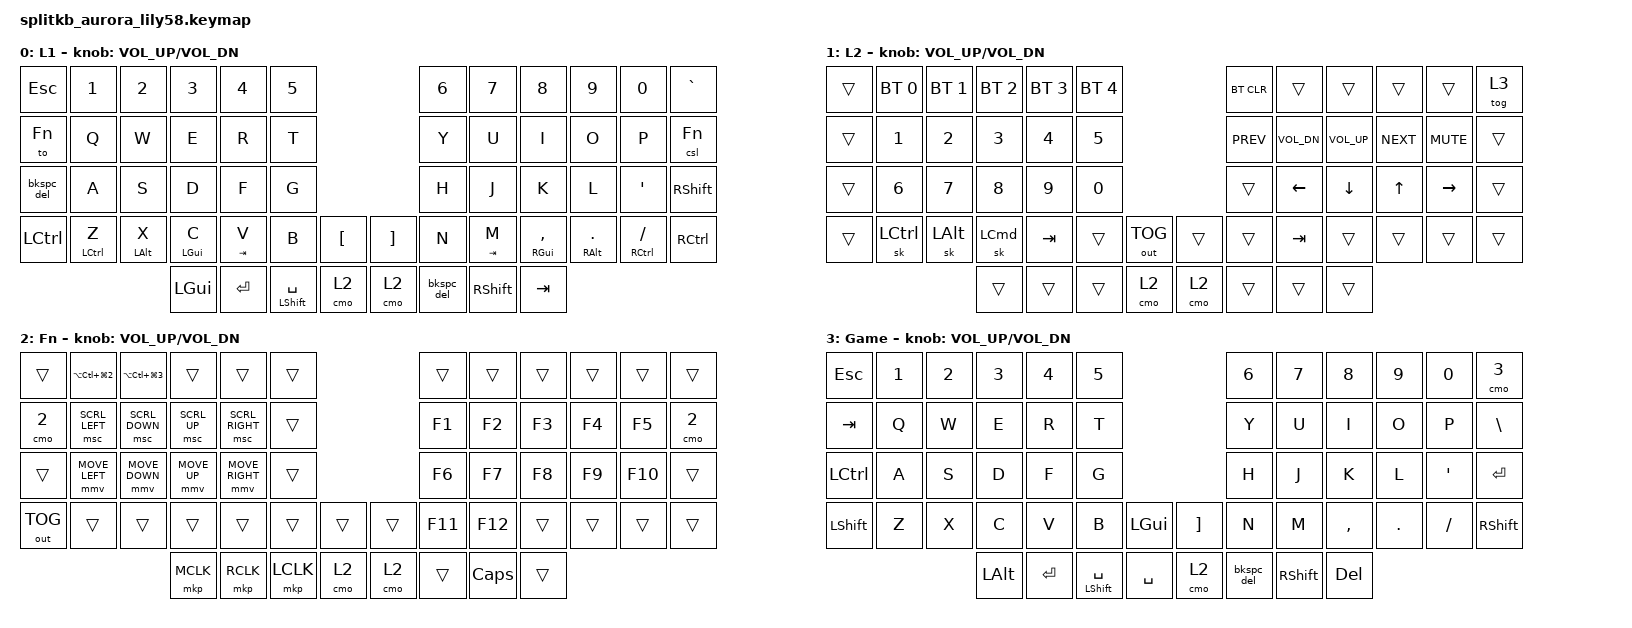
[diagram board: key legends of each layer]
/*
 * Copyright (c) 2022 The ZMK Contributors
 * ok
 * SPDX-License-Identifier: MIT
 */

// ZMK Core Includes
#include <behaviors.dtsi>
#include <dt-bindings/zmk/keys.h>
#include <dt-bindings/zmk/bt.h>
#include <dt-bindings/zmk/outputs.h>

// Layers
#define L1 0
#define L2 1
#define Fn 2
#define Game 3

// Meh key
#define MEH LS(LC(LALT))

// Behaviors Constants
#define TAPPING_TERM_MS 800
#define QUICK_TAP_MS 175
#define GLOBAL_QUICK_TAP_MS 150

// Combos Constants
#define COMBO_TERM_DEFAULT 30
#define COMBO_QUICK_TAP_MS 100

#include "behaviors.dtsi"
#include "macros.dtsi"
#include "combos.dtsi"

#define ZMK_MOUSE_DEFAULT_MOVE_VAL 1500  // 600
#define ZMK_MOUSE_DEFAULT_SCRL_VAL 20    // 10

#define DEF 0;
#define UPE 1;
#define MSC 2;
#define ZMK_MOUSE_DEFAULT_SCRL_VAL 5

#include <dt-bindings/zmk/mouse.h>
#include <behaviors/mouse_keys.dtsi>
#include <behaviors/mouse_move.dtsi>


&sensors { triggers-per-rotation = <12>; };
&msc { acceleration-exponent = <1>; };

/ {
    keymap {
        compatible = "zmk,keymap";
        layer_1 {
            label = "L1";
            bindings = <
        // ╭───────────────┬───────────────┬───────────────┬───────────────┬───────────────┬───────────────╮                                  ╭───────────────┬───────────────┬───────────────┬───────────────┬───────────────┬───────────────╮
        //  0               1               2               3               4               5                                                   6               7               8               9               10              11
            &kp ESC         &kp N1          &kp N2          &kp N3          &kp N4          &kp N5                                              &kp N6          &kp N7          &kp N8          &kp N9          &kp N0          &kp GRAVE
        // ├───────────────├───────────────┼───────────────┼───────────────┼───────────────┼───────────────┤                                  ├───────────────├───────────────┼───────────────┼───────────────┼───────────────┼───────────────┤
        //  12              13              14              15              16              17                                                  18              19              20              21              22              23
            &to Fn          &kp Q           &kp W           &kp E           &kp R           &kp T                                               &kp Y           &kp U           &kp I           &kp O           &kp P           &csl Fn 
        // ├───────────────├───────────────┼───────────────┼───────────────┼───────────────┼───────────────┤                                  ├───────────────├───────────────┼───────────────┼───────────────┼───────────────┼───────────────┤
        //  24              25              26              27              28              29                                                  30              31              32              33              34              35
            &bkspc_del      &kp A           &kp S           &kp D           &kp F           &kp G                                               &kp H           &kp J           &kp K           &kp L           &kp SQT         &kp RSHFT
        // ├───────────────├───────────────┼───────────────┼───────────────┼───────────────┼───────────────┤───────────────┤   ├──────────────├───────────────├───────────────┼───────────────┼───────────────┼───────────────┼───────────────┤
        //  36              37              38              39              40              41              42                  43              44              45              46              47              48              49
            &kp LCTRL       &mt LCTRL Z     &mt LALT X      &mt LGUI C      &mt TAB V       &kp B           &kp LBKT            &kp RBKT        &kp N           &mt TAB M       &mt RGUI COMMA  &mt RALT DOT    &mt RCTRL SLASH &kp RCTRL
        // ╰───────────────┴───────────────┴───────────────┼───────────────┼───────────────┼───────────────┤───────────────┤   ├──────────────├───────────────├───────────────┼───────────────┼───────────────┴───────────────┴───────────────╯
        //                                                  50              51              52              53                   54             55              56              57
                                                            &kp LGUI        &kp ENTER       &mt LSHIFT SPACE &cmo L2             &cmo L2        &bkspc_del     &kp RSHFT        &kp TAB
        //                                                 ╰───────────────┴───────────────┴───────────────┴───────────────╯   ╰──────────────┴───────────────┴───────────────┴───────────────╯77
            >;

            sensor-bindings = <&inc_dec_kp C_VOL_UP C_VOL_DN>;
        };
        layer_2 {
            label = "L2";
            bindings = <
        // ╭───────────────┬───────────────┬───────────────┬───────────────┬───────────────┬───────────────╮                                  ╭───────────────┬───────────────┬───────────────┬───────────────┬───────────────┬───────────────╮
        //  0               1               2               3               4               5                                                   6               7               8               9               10              11
            &trans          &bt BT_SEL 0    &bt BT_SEL 1    &bt BT_SEL 2    &bt BT_SEL 3    &bt BT_SEL 4                                        &bt BT_CLR      &trans          &trans          &trans          &trans          &tog 3
        // ├───────────────├───────────────┼───────────────┼───────────────┼───────────────┼───────────────┤                                  ├───────────────├───────────────┼───────────────┼───────────────┼───────────────┼───────────────┤
        //  12              13              14              15              16              17                                                  18              19              20              21              22              23
            &trans          &kp N1          &kp N2          &kp N3          &kp N4          &kp N5                                              &kp C_PREV      &kp C_VOL_DN    &kp C_VOL_UP    &kp C_NEXT      &kp C_MUTE      &trans
        // ├───────────────├───────────────┼───────────────┼───────────────┼───────────────┼───────────────┤                                  ├───────────────├───────────────┼───────────────┼───────────────┼───────────────┼───────────────┤
        //  24              25              26              27              28              29                                                  30              31              32              33              34              35
            &trans          &kp N6          &kp N7          &kp N8          &kp N9          &kp N0                                              &trans          &kp LEFT        &kp DOWN        &kp UP          &kp RIGHT       &trans
        // ├───────────────├───────────────┼───────────────┼───────────────┼───────────────┼───────────────┤───────────────┤   ├──────────────├───────────────├───────────────┼───────────────┼───────────────┼───────────────┼───────────────┤
        //  36              37              38              39              40              41              42                  43              44              45              46              47              48              49
            &trans          &sk LCTRL       &sk LALT        &sk LCMD        &kp TAB         &trans          &out OUT_TOG        &trans          &trans          &kp TAB         &trans          &trans          &trans          &trans
        // ╰───────────────┴───────────────┴───────────────┼───────────────┼───────────────┼───────────────┤───────────────┤   ├──────────────├───────────────├───────────────┼───────────────┼───────────────┴───────────────┴───────────────╯
        //                                                  50              51              52              53                   54             55              56              57
                                                            &trans          &trans          &trans          &cmo L2              &cmo L2        &trans          &trans          &trans
        //                                                 ╰───────────────┴───────────────┴───────────────┴───────────────╯   ╰──────────────┴───────────────┴───────────────┴───────────────╯
            >;

            sensor-bindings = <&inc_dec_kp C_VOL_UP C_VOL_DN>;
        };

        layer_3 {
            label = "Fn";
            bindings = <
        // ╭───────────────┬───────────────┬───────────────┬───────────────┬───────────────┬───────────────╮                                  ╭───────────────┬───────────────┬───────────────┬───────────────┬───────────────┬───────────────╮
        //  0               1               2               3               4               5                                                   6               7               8               9               10              11
            &trans &kp LA(LC(LG(NUMBER_2))) &kp LA(LC(LG(NUMBER_3)))    &trans     &trans     &trans                                            &trans          &trans          &trans          &trans          &trans          &trans
        // ├───────────────├───────────────┼───────────────┼───────────────┼───────────────┼───────────────┤                                  ├───────────────├───────────────┼───────────────┼───────────────┼───────────────┼───────────────┤
        //  12              13              14              15              16              17                                                  18              19              20              21              22              23
            &cmo 2          &msc SCRL_LEFT  &msc SCRL_DOWN  &msc SCRL_UP    &msc SCRL_RIGHT &trans                                              &kp F1          &kp F2          &kp F3          &kp F4          &kp F5          &cmo 2
        // ├───────────────├───────────────┼───────────────┼───────────────┼───────────────┼───────────────┤                                  ├───────────────├───────────────┼───────────────┼───────────────┼───────────────┼───────────────┤
        //  24              25              26              27              28              29                                                  30              31              32              33              34              35
            &trans          &mmv MOVE_LEFT  &mmv MOVE_DOWN  &mmv MOVE_UP    &mmv MOVE_RIGHT &trans                                              &kp F6          &kp F7          &kp F8          &kp F9          &kp F10         &trans
        // ├───────────────├───────────────┼───────────────┼───────────────┼───────────────┼───────────────┤───────────────┤   ├──────────────├───────────────├───────────────┼───────────────┼───────────────┼───────────────┼───────────────┤
        //  36              37              38              39              40              41              42                  43              44              45              46              47              48              49
            &out OUT_TOG    &trans          &trans          &trans          &trans          &trans          &trans              &trans          &kp F11         &kp F12         &trans          &trans          &trans          &trans
        // ╰───────────────┴───────────────┴───────────────┼───────────────┼───────────────┼───────────────┤───────────────┤   ├──────────────├───────────────├───────────────┼───────────────┼───────────────┴───────────────┴───────────────╯
        //                                                  50              51              52              53                   54             55              56              57
                                                            &mkp MCLK       &mkp RCLK       &mkp LCLK       &cmo L2              &cmo L2        &trans          &kp CAPSLOCK    &trans          
        //                                                 ╰───────────────┴───────────────┴───────────────┴───────────────╯   ╰──────────────┴───────────────┴───────────────┴───────────────╯
            >;

            sensor-bindings = <&inc_dec_kp C_VOL_UP C_VOL_DN>;
        };
        layer_4 {
            label = "Game";
            bindings = <
        // ╭───────────────┬───────────────┬───────────────┬───────────────┬───────────────┬───────────────╮                                  ╭───────────────┬───────────────┬───────────────┬───────────────┬───────────────┬───────────────╮
        //  0               1               2               3               4               5                                                   6               7               8               9               10              11
            &kp ESC         &kp N1          &kp N2          &kp N3          &kp N4          &kp N5                                              &kp N6          &kp N7          &kp N8          &kp N9          &kp N0          &cmo 3
        // ├───────────────├───────────────┼───────────────┼───────────────┼───────────────┼───────────────┤                                  ├───────────────├───────────────┼───────────────┼───────────────┼───────────────┼───────────────┤
        //  12              13              14              15              16              17                                                  18              19              20              21              22              23
            &kp TAB         &kp Q           &kp W           &kp E           &kp R           &kp T                                               &kp Y           &kp U           &kp I           &kp O           &kp P           &kp BACKSLASH
        // ├───────────────├───────────────┼───────────────┼───────────────┼───────────────┼───────────────┤                                  ├───────────────├───────────────┼───────────────┼───────────────┼───────────────┼───────────────┤
        //  24              25              26              27              28              29                                                  30              31              32              33              34              35
            &kp LCTRL       &kp A           &kp S           &kp D           &kp F           &kp G                                               &kp H           &kp J           &kp K           &kp L           &kp SQT         &kp ENTER
        // ├───────────────├───────────────┼───────────────┼───────────────┼───────────────┼───────────────┤───────────────┤   ├──────────────├───────────────├───────────────┼───────────────┼───────────────┼───────────────┼───────────────┤
        //  36              37              38              39              40              41              42                  43              44              45              46              47              48              49
            &kp LSHFT       &kp Z           &kp X           &kp C           &kp V           &kp B           &kp LGUI            &kp RBKT        &kp N           &kp M           &kp COMMA       &kp DOT         &kp SLASH       &kp RSHFT
        // ╰───────────────┴───────────────┴───────────────┼───────────────┼───────────────┼───────────────┤───────────────┤   ├──────────────├───────────────├───────────────┼───────────────┼───────────────┴───────────────┴───────────────╯
        //                                                  50              51              52              53                   54             55              56              57
                                                            &kp LALT        &kp ENTER       &mt LSHFT SPACE &kp SPACE            &cmo L2        &bkspc_del     &kp RSHFT    &kp DEL
        //                                                 ╰───────────────┴───────────────┴───────────────┴───────────────╯   ╰──────────────┴───────────────┴───────────────┴───────────────╯
            >;

            sensor-bindings = <&inc_dec_kp C_VOL_UP C_VOL_DN>;
        };
    };
};

/ {
  chosen {
    zmk,matrix_transform = &default_transform;
  };
};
